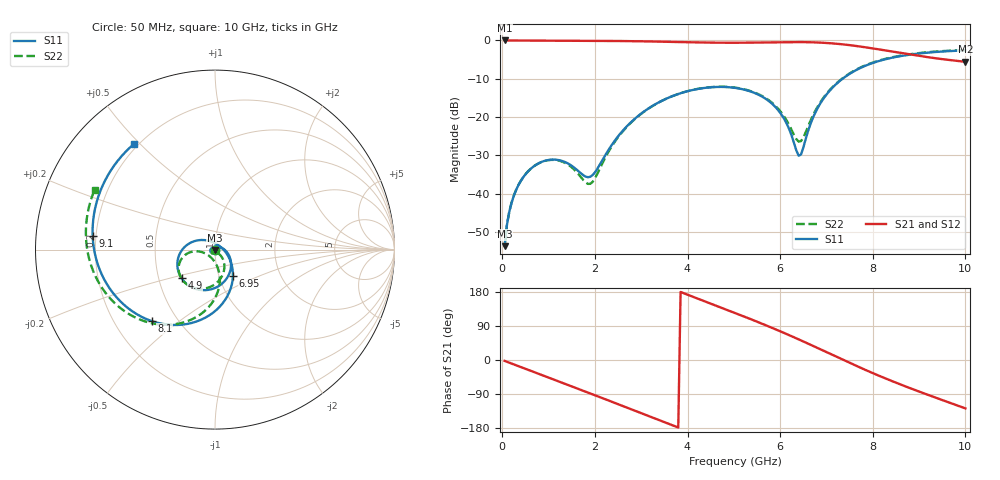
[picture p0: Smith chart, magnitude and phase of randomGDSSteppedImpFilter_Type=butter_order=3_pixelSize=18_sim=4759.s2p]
! freq	dB(S11)	phase(S11)	dB(S12)	phase(S12)
!  dB(S21)	phase(S21)	dB(S22)	phase(S22)
!S-par simulation data
#  GHz  S  DB  R 50
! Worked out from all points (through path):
!   200 points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, 50 MHz to 10 GHz, reference 50 ohm
!   highest |S21| = 0.00 dB at 50 MHz (marker M1); lowest = -5.6 dB at 10 GHz (marker M2)
!   group delay of S21, straight-line fit = 138 ps
!   lowest |S11| = -53.7 dB at 50 MHz (marker M3), VSWR 1.00, Z = 50 - j0.207 ohm
!   |S11| at or under -10 dB: start of sweep to 7.346 GHz
!   |S22| runs from -53.7 to -2.5 dB; largest |S21 - S12| = 0
!   S11 on the Smith chart (normalised r, x): 50 MHz: 1.00, -0.00; 4.9 GHz: 0.66, -0.22; 6.95 GHz: 1.16, -0.36; 8.1 GHz: 0.36, -0.40; 9.1 GHz: 0.19, +0.05; 10 GHz: 0.18, +0.48
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0.05  -53.65 -85.0  -0.00 -2.4  -0.00 -2.4  -53.65 -83.8
0.15  -44.76 -95.2  -0.01 -7.0  -0.01 -7.0  -44.71 -92.8
0.25  -40.47 -102.5  -0.02 -11.6  -0.02 -11.6  -40.42 -98.3
0.65  -33.11 -126.9  -0.04 -30.2  -0.04 -30.2  -33.11 -115.3
1.25  -31.29 -166.8  -0.07 -58.0  -0.07 -58.0  -31.43 -134.1
1.75  -35.15 130.1  -0.09 -81.3  -0.09 -81.3  -36.41 -120.0
1.95  -35.13 79.1  -0.10 -90.6  -0.10 -90.6  -36.89 -79.6
2.5  -25.00 -3.0  -0.15 -116.5  -0.15 -116.5  -25.23 -47.4
3.4  -16.01 -60.5  -0.31 -159.2  -0.31 -159.2  -16.03 -77.0
4.1  -12.95 -97.8  -0.49 167.7  -0.49 167.7  -12.93 -105.7
4.9  -12.21 -139.2  -0.60 130.1  -0.60 130.1  -12.15 -138.5
5.05  -12.41 -147.2  -0.60 123.0  -0.60 123.0  -12.34 -144.5
5.9  -17.39 161.9  -0.47 81.0  -0.47 81.0  -17.09 -173.9
6.15  -21.91 138.5  -0.44 67.9  -0.44 67.9  -21.10 -173.1
6.4  -30.06 66.2  -0.43 54.5  -0.43 54.5  -26.38 -134.3
6.7  -20.40 -32.1  -0.49 37.8  -0.49 37.8  -19.78 -81.3
6.95  -14.92 -56.2  -0.62 23.6  -0.62 23.6  -14.70 -81.7
7.45  -9.10 -91.6  -1.15 -4.7  -1.15 -4.7  -8.98 -100.7
8.1  -5.48 -131.6  -2.27 -39.8  -2.27 -39.8  -5.37 -130.3
8.35  -4.68 -145.9  -2.77 -52.4  -2.77 -52.4  -4.57 -141.3
9.1  -3.28 173.7  -4.21 -87.8  -4.21 -87.8  -3.17 -172.2
10  -2.59 127.4  -5.56 -127.7  -5.56 -127.7  -2.51 153.5
